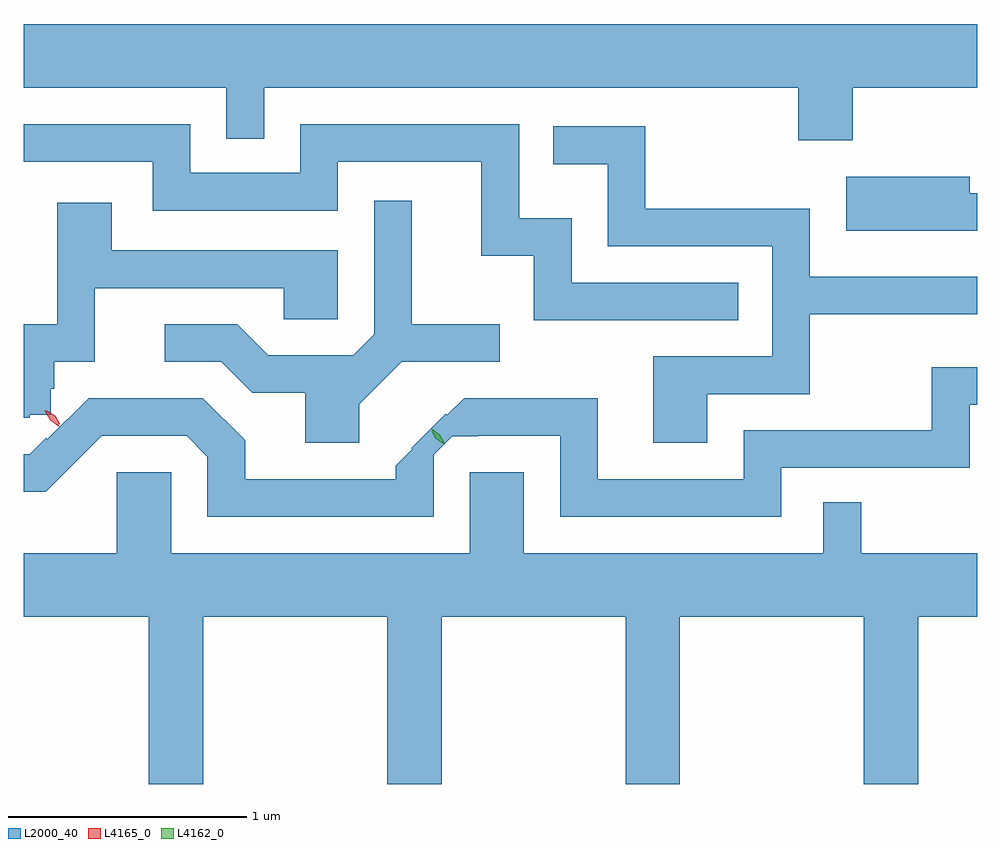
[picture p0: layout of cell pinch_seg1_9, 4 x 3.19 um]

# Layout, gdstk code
import gdstk
lib = gdstk.Library(unit=1e-6, precision=1e-09)
def P(c, l, *ps):  # polygons
    for p in ps: c.add(gdstk.Polygon(p, *l))
L2000_40 = (2000, 40)
L4162_0 = (4162, 0)
L4165_0 = (4165, 0)

pinch_seg1_9 = lib.new_cell('pinch_seg1_9')
P(pinch_seg1_9, L2000_40, [(1898.699,850.736),(1899.221,850.736),(1899.221,851.004),(1895.221,851.004),(1895.221,850.736),(1896.071,850.736),(1896.071,850.523),(1896.229,850.523),(1896.229,850.736),(1898.471,850.736),(1898.471,850.516),(1898.699,850.516)],
  [(1898.218,849.919),(1897.519,849.919),(1897.519,850.189),(1897.299,850.189),(1897.299,850.584),(1896.381,850.584),(1896.381,850.379),(1895.919,850.379),(1895.919,850.584),(1895.221,850.584),(1895.221,850.426),(1895.761,850.426),(1895.761,850.221),(1896.539,850.221),(1896.539,850.426),(1897.141,850.426),(1897.141,850.031),(1897.361,850.031),(1897.361,849.761),(1898.218,849.761)],
  [(1898.089,849.451),(1898.519,849.451),(1898.519,849.786),(1899.221,849.786),(1899.221,849.944),(1898.519,849.944),(1898.519,850.229),(1897.829,850.229),(1897.829,850.574),(1897.443,850.574),(1897.443,850.416),(1897.671,850.416),(1897.671,850.071),(1898.361,850.071),(1898.361,849.609),(1897.861,849.609),(1897.861,849.246),(1898.089,849.246)],
  [(1899.221,850.294),(1899.189,850.294),(1899.189,850.364),(1898.671,850.364),(1898.671,850.136),(1899.221,850.136)],
  [(1896.629,849.409),(1896.807,849.586),(1897.218,849.586),(1897.218,849.744),(1896.849,849.744),(1896.849,850.263),(1896.691,850.263),(1896.691,849.702),(1896.604,849.614),(1896.247,849.614),(1896.117,849.744),(1895.813,849.744),(1895.813,849.586),(1896.049,849.586),(1896.179,849.456),(1896.401,849.456),(1896.401,849.246),(1896.629,849.246)],
  [(1895.246,849.365),(1895.334,849.365),(1895.334,849.473),(1895.349,849.473),(1895.349,849.586),(1895.519,849.586),(1895.519,849.896),(1896.311,849.896),(1896.311,849.766),(1896.539,849.766),(1896.539,850.054),(1895.589,850.054),(1895.589,850.254),(1895.361,850.254),(1895.361,849.744),(1895.221,849.744),(1895.221,849.351),(1895.246,849.351)],
  [(1896.941,849.196),(1897.019,849.274),(1897.125,849.274),(1897.125,849.276),(1897.471,849.276),(1897.471,848.936),(1898.399,848.936),(1898.399,849.141),(1899.189,849.141),(1899.189,849.406),(1899.221,849.406),(1899.221,849.564),(1899.031,849.564),(1899.031,849.299),(1898.241,849.299),(1898.241,849.094),(1897.629,849.094),(1897.629,849.434),(1897.068,849.434),(1896.997,849.364),(1896.992,849.369),(1896.846,849.223),(1896.851,849.219),(1896.781,849.15),(1896.781,849.094),(1896.149,849.094),(1896.149,849.257),(1895.972,849.434),(1895.493,849.434),(1895.32,849.262),(1895.314,849.267),(1895.246,849.199),(1895.221,849.199),(1895.221,849.041),(1895.312,849.041),(1895.547,849.276),(1895.904,849.276),(1895.991,849.189),(1895.991,848.936),(1896.941,848.936)],
  [(1895.974,848.516),(1896.746,848.516),(1896.746,847.815),(1896.974,847.815),(1896.974,848.516),(1897.746,848.516),(1897.746,847.815),(1897.974,847.815),(1897.974,848.516),(1898.746,848.516),(1898.746,847.815),(1898.974,847.815),(1898.974,848.516),(1899.221,848.516),(1899.221,848.784),(1898.734,848.784),(1898.734,848.998),(1898.576,848.998),(1898.576,848.784),(1897.319,848.784),(1897.319,849.124),(1897.091,849.124),(1897.091,848.784),(1895.839,848.784),(1895.839,849.124),(1895.611,849.124),(1895.611,848.784),(1895.221,848.784),(1895.221,848.516),(1895.746,848.516),(1895.746,847.815),(1895.974,847.815)])
P(pinch_seg1_9, L4162_0, [(1896.986,849.241),(1896.952,849.266),(1896.932,849.304),(1896.932,849.305),(1896.933,849.305),(1896.967,849.28),(1896.987,849.242),(1896.987,849.241)],
  [(1896.979,849.244),(1896.949,849.263),(1896.933,849.296),(1896.933,849.296),(1896.933,849.296),(1896.964,849.277),(1896.98,849.244),(1896.98,849.244)])
P(pinch_seg1_9, L4165_0, [(1895.37,849.315),(1895.332,849.342),(1895.308,849.382),(1895.308,849.383),(1895.309,849.383),(1895.347,849.355),(1895.37,849.316),(1895.37,849.315)],
  [(1895.374,849.322),(1895.337,849.346),(1895.315,849.383),(1895.315,849.383),(1895.315,849.383),(1895.352,849.36),(1895.374,849.323),(1895.374,849.322)])

lib.write_gds('pinch_seg1_9.gds')
